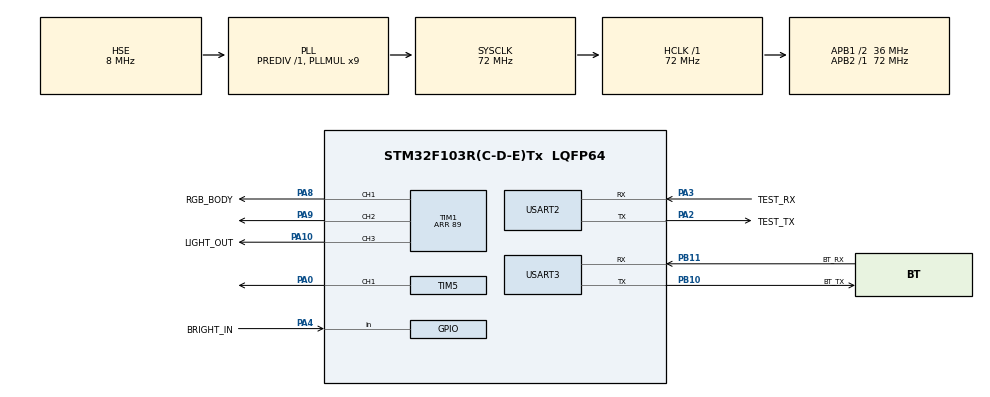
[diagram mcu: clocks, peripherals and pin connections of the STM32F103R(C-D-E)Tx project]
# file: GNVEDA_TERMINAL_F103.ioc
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Dma.Request0=TIM1_CH1
Dma.Request1=TIM1_CH3
Dma.Request2=TIM1_CH2
Dma.Request3=TIM5_CH1
Dma.TIM1_CH1.0.Direction=DMA_MEMORY_TO_PERIPH
Dma.TIM1_CH1.0.Instance=DMA1_Channel2
Dma.TIM1_CH1.0.MemDataAlignment=DMA_MDATAALIGN_HALFWORD
Dma.TIM1_CH1.0.MemInc=DMA_MINC_ENABLE
Dma.TIM1_CH1.0.Mode=DMA_CIRCULAR
Dma.TIM1_CH1.0.PeriphDataAlignment=DMA_PDATAALIGN_HALFWORD
Dma.TIM1_CH1.0.PeriphInc=DMA_PINC_DISABLE
Dma.TIM1_CH1.0.Priority=DMA_PRIORITY_LOW
Dma.TIM1_CH2.2.Direction=DMA_MEMORY_TO_PERIPH
Dma.TIM1_CH2.2.Instance=DMA1_Channel3
Dma.TIM1_CH2.2.MemDataAlignment=DMA_MDATAALIGN_HALFWORD
Dma.TIM1_CH2.2.MemInc=DMA_MINC_ENABLE
Dma.TIM1_CH2.2.Mode=DMA_CIRCULAR
Dma.TIM1_CH2.2.PeriphDataAlignment=DMA_PDATAALIGN_HALFWORD
Dma.TIM1_CH2.2.PeriphInc=DMA_PINC_DISABLE
Dma.TIM1_CH2.2.Priority=DMA_PRIORITY_LOW
Dma.TIM1_CH3.1.Direction=DMA_MEMORY_TO_PERIPH
Dma.TIM1_CH3.1.Instance=DMA1_Channel6
Dma.TIM1_CH3.1.MemDataAlignment=DMA_MDATAALIGN_HALFWORD
Dma.TIM1_CH3.1.MemInc=DMA_MINC_ENABLE
Dma.TIM1_CH3.1.Mode=DMA_CIRCULAR
Dma.TIM1_CH3.1.PeriphDataAlignment=DMA_PDATAALIGN_HALFWORD
Dma.TIM1_CH3.1.PeriphInc=DMA_PINC_DISABLE
Dma.TIM1_CH3.1.Priority=DMA_PRIORITY_LOW
Dma.TIM5_CH1.3.Direction=DMA_MEMORY_TO_PERIPH
Dma.TIM5_CH1.3.Instance=DMA2_Channel5
Dma.TIM5_CH1.3.MemDataAlignment=DMA_MDATAALIGN_HALFWORD
Dma.TIM5_CH1.3.MemInc=DMA_MINC_ENABLE
Dma.TIM5_CH1.3.Mode=DMA_CIRCULAR
Dma.TIM5_CH1.3.PeriphDataAlignment=DMA_PDATAALIGN_HALFWORD
Dma.TIM5_CH1.3.PeriphInc=DMA_PINC_DISABLE
Dma.TIM5_CH1.3.Priority=DMA_PRIORITY_LOW
Mcu.Family=STM32F1
Mcu.Name=STM32F103R(C-D-E)Tx
Mcu.Package=LQFP64
NVIC.DMA1_Channel2_IRQn=true\:0\:0\:false\:false\:true\:true\:false\:true\:true
NVIC.DMA1_Channel3_IRQn=true\:0\:0\:false\:false\:true\:true\:false\:true\:true
NVIC.DMA1_Channel6_IRQn=true\:0\:0\:false\:false\:true\:true\:false\:true\:true
NVIC.DMA2_Channel4_5_IRQn=true\:0\:0\:false\:false\:true\:true\:false\:true\:true
NVIC.PriorityGroup=NVIC_PRIORITYGROUP_4
NVIC.TIM3_IRQn=true\:15\:0\:false\:false\:true\:false\:false\:true\:true
NVIC.TimeBase=TIM3_IRQn
NVIC.TimeBaseIP=TIM3
NVIC.USART3_IRQn=true\:0\:0\:false\:false\:true\:false\:true\:true\:true
PA0-WKUP.Signal=S_TIM5_CH1
PA10.GPIO_Label=LIGHT_OUT
PA10.Signal=S_TIM1_CH3
PA13.Mode=Serial_Wire
PA13.Signal=SYS_JTMS-SWDIO
PA14.Mode=Serial_Wire
PA14.Signal=SYS_JTCK-SWCLK
PA2.GPIO_Label=TEST_TX
PA2.Mode=Asynchronous
PA2.Signal=USART2_TX
PA3.GPIO_Label=TEST_RX
PA3.Mode=Asynchronous
PA3.Signal=USART2_RX
PA4.GPIO_Label=BRIGHT_IN
PA4.Signal=GPIO_Input
PA8.GPIO_Label=RGB_BODY
PA8.Signal=S_TIM1_CH1
PA9.Signal=S_TIM1_CH2
PB10.GPIO_Label=BT_TX
PB10.Mode=Asynchronous
PB10.Signal=USART3_TX
PB11.GPIO_Label=BT_RX
PB11.Mode=Asynchronous
PB11.Signal=USART3_RX
PD0-OSC_IN.Mode=HSE-External-Oscillator
PD0-OSC_IN.Signal=RCC_OSC_IN
PD1-OSC_OUT.Mode=HSE-External-Oscillator
PD1-OSC_OUT.Signal=RCC_OSC_OUT
ProjectManager.HeapSize=0x200
ProjectManager.StackSize=0x400
ProjectManager.TargetToolchain=MDK-ARM V5.32
RCC.AHBFreq_Value=72000000
RCC.APB1CLKDivider=RCC_HCLK_DIV2
RCC.APB1Freq_Value=36000000
RCC.APB1TimFreq_Value=72000000
RCC.APB2Freq_Value=72000000
RCC.APB2TimFreq_Value=72000000
RCC.HCLKFreq_Value=72000000
RCC.PLLMUL=RCC_PLL_MUL9
RCC.PLLSourceVirtual=RCC_PLLSOURCE_HSE
RCC.SYSCLKFreq_VALUE=72000000
RCC.SYSCLKSource=RCC_SYSCLKSOURCE_PLLCLK
RCC.USBFreq_Value=72000000
RealThread.RT-Thread.3.1.5.RTOSJjkernel=true
RealThread.RT-Thread.3.1.5.RTOSJjshell=true
SH.S_TIM1_CH1.0=TIM1_CH1,PWM Generation1 CH1
SH.S_TIM1_CH2.0=TIM1_CH2,PWM Generation2 CH2
SH.S_TIM1_CH3.0=TIM1_CH3,PWM Generation3 CH3
SH.S_TIM5_CH1.0=TIM5_CH1,PWM Generation1 CH1
TIM1.Channel-PWM\ Generation1\ CH1=TIM_CHANNEL_1
TIM1.Channel-PWM\ Generation2\ CH2=TIM_CHANNEL_2
TIM1.Channel-PWM\ Generation3\ CH3=TIM_CHANNEL_3
TIM1.Period=89
TIM5.Channel-PWM\ Generation1\ CH1=TIM_CHANNEL_1
TIM5.Period=89
USART2.VirtualMode=VM_ASYNC
USART3.VirtualMode=VM_ASYNC
VP_RealThread.RT-Thread_VS_RTOSJjkernel_3.1.5_3.1.5.Mode=RTOSJjkernel
VP_RealThread.RT-Thread_VS_RTOSJjshell_3.1.5_3.1.5.Mode=RTOSJjshell
VP_SYS_VS_tim3.Mode=TIM3
board=custom

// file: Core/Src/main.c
/* USER CODE BEGIN Header */
/**
 ******************************************************************************
 * @file           : main.c
 * @brief          : Main program body
 ******************************************************************************
 * @attention
 *
 * Copyright (c) 2024 STMicroelectronics.
 * All rights reserved.
 *
 * This software is licensed under terms that can be found in the LICENSE file
 * in the root directory of this software component.
 * If no LICENSE file comes with this software, it is provided AS-IS.
 *
 ******************************************************************************
 */
/* USER CODE END Header */
#include "main.h"
#include "dma.h"
#include "tim.h"
#include "usart.h"
#include "gpio.h"

/* USER CODE BEGIN Includes */
#include <rtthread.h>
#include "RGB.h"
#include "easyflash.h"
#include "string.h"
#include "stdlib.h"
#include "stdio.h"
#include "gn_controller.h"
#include "jsonUtil.h"
/* USER CODE END Includes */

/* USER CODE BEGIN PD */
#define BUFFER_SIZE 250
/* USER CODE END PD */

/* USER CODE BEGIN PV */
RGB_LED rgb_body;
RGB_LED rgb_bag;
char usart3_c;
int usart3_rx_index;
char usart3_rx_buffer[BUFFER_SIZE];
int mode_id = 6;

int gn_mode_id = 0;
int command_able = 0;
bool gn_reset = true;
rt_thread_t processJsonThread;
bool is_double=false,is_center=false;
int GN_DRIVE[] = {2, 3, 4, 5, 6, 7, 8};
/* USER CODE END PV */

void SystemClock_Config(void);

/* USER CODE BEGIN 0 */
uint32_t color;
/* USER CODE END 0 */

int main(void)
{

  /* MCU Configuration--------------------------------------------------------*/

  /* Reset of all peripherals, Initializes the Flash interface and the Systick. */
  HAL_Init();

  /* Configure the system clock */
  SystemClock_Config();

  /* USER CODE BEGIN SysInit */
  RGB_LED_Init(&rgb_body, 10, &htim1, TIM_CHANNEL_1);
  RGB_LED_Init(&rgb_bag, 10, &htim5, TIM_CHANNEL_1);
  /* USER CODE END SysInit */

  /* Initialize all configured peripherals */
  MX_GPIO_Init();
  MX_DMA_Init();
  MX_TIM1_Init();
  MX_USART2_UART_Init();
  MX_USART3_UART_Init();
  MX_TIM5_Init();
  /* USER CODE BEGIN 2 */
  if (easyflash_init() == EF_NO_ERR) // Initialization Data Succeed
  {
    rt_kprintf("easyflash初始化成功!\n");
    // uint32_t color1 = 0x00FF00;
    // uint32_t color2 = 0x0000FF;
    // ef_set_env_blob("bird_color", &color1, 4);
    // ef_set_env_blob("wings_color", &color2, 4);

    // rt_kprintf("要保存的数据:\n");
    // print_hex_data(color1);
    // rt_kprintf("\n");
    // EfErrCode result = ef_set_env_blob("wavy_color_1", &color1,4);
    // if (result == EF_NO_ERR)
    // {
    //   rt_kprintf("数据1保存成功!\n");

    //   result = ef_set_env_blob("wavy_color_2", &color2,4);
    //   if (result == EF_NO_ERR)
    //   {
    //     rt_kprintf("数据2保存成功!\n");
    //   }
    // }
    // else
    // {
    //   rt_kprintf("数据保存失败!错误:%d\n", result);
    // }
  }

  HAL_UART_Receive_IT(&huart3, (uint8_t *)&usart3_c, 1);

  rt_thread_t rgb_body_task_tid = rt_thread_create("rgb_body_task", /* ???? */
                                              rgb_body_task, RT_NULL,
                                              1024, 3, 10); //
  if (rgb_body_task_tid != RT_NULL)
  {
    rt_thread_startup(rgb_body_task_tid);
    rt_kprintf("rgb_body_task_tid thread is already started\n");
  }
  else
  {
    rt_kprintf("rgb_body_task_tid thread is not started\n");
  }

  rt_thread_t rgb_gn_task_tid = rt_thread_create("rgb_gn_drive_task", /* ???? */
                                              rgb_gn_drive_task, RT_NULL,
                                              1024, 4, 10); //
  if (rgb_gn_task_tid != RT_NULL)
  {
    rt_thread_startup(rgb_gn_task_tid);
    rt_kprintf("rgb_gn_task_tid thread is already started\n");
  }
  else
  {
    rt_kprintf("rgb_gn_task_tid thread is not started\n");
  }

  processJsonThread = rt_thread_create("commandParsing", commandParsingTask, RT_NULL, 7216, 4, 10);
  if (processJsonThread != RT_NULL)
  {
    rt_thread_startup(processJsonThread);
  }
  /* USER CODE END 2 */

  /* Infinite loop */
  while (1)
  {

  }
}

void SystemClock_Config(void)
{
  RCC_OscInitTypeDef RCC_OscInitStruct = {0};
  RCC_ClkInitTypeDef RCC_ClkInitStruct = {0};

  /** Initializes the RCC Oscillators according to the specified parameters
  * in the RCC_OscInitTypeDef structure.
  */
  RCC_OscInitStruct.OscillatorType = RCC_OSCILLATORTYPE_HSE;
  RCC_OscInitStruct.HSEState = RCC_HSE_ON;
  RCC_OscInitStruct.HSEPredivValue = RCC_HSE_PREDIV_DIV1;
  RCC_OscInitStruct.HSIState = RCC_HSI_ON;
  RCC_OscInitStruct.PLL.PLLState = RCC_PLL_ON;
  RCC_OscInitStruct.PLL.PLLSource = RCC_PLLSOURCE_HSE;
  RCC_OscInitStruct.PLL.PLLMUL = RCC_PLL_MUL9;
  if (HAL_RCC_OscConfig(&RCC_OscInitStruct) != HAL_OK)
  {
    Error_Handler();
  }

  /** Initializes the CPU, AHB and APB buses clocks
  */
  RCC_ClkInitStruct.ClockType = RCC_CLOCKTYPE_HCLK|RCC_CLOCKTYPE_SYSCLK
                              |RCC_CLOCKTYPE_PCLK1|RCC_CLOCKTYPE_PCLK2;
  RCC_ClkInitStruct.SYSCLKSource = RCC_SYSCLKSOURCE_PLLCLK;
  RCC_ClkInitStruct.AHBCLKDivider = RCC_SYSCLK_DIV1;
  RCC_ClkInitStruct.APB1CLKDivider = RCC_HCLK_DIV2;
  RCC_ClkInitStruct.APB2CLKDivider = RCC_HCLK_DIV1;

  if (HAL_RCC_ClockConfig(&RCC_ClkInitStruct, FLASH_LATENCY_2) != HAL_OK)
  {
    Error_Handler();
  }
}

/* USER CODE BEGIN 4 */
void print_hex_data(uint32_t value)
{
  char buffer[10];
  snprintf(buffer, sizeof(buffer), "%06X", value);
  rt_kprintf("0x%s\n", buffer);
}

void rgb_gn_drive_task(void *promt)
{
  int delay_time = 1000;
  int circle_num = 0;
  uint32_t circle_color_1, circle_color_2, center_color,bird_color,wings_color;
  while (1)
  {
    resetColor(&rgb_bag, GN_DRIVE, 7);
    ef_get_env_blob("circle_color_1", &circle_color_1, 4, NULL);
    ef_get_env_blob("circle_color_2", &circle_color_2, 4, NULL);
    ef_get_env_blob("bird_color", &bird_color, 4, NULL);
    ef_get_env_blob("wings_color", &wings_color, 4, NULL);
    ef_get_env_blob("center_color", &center_color, 4, NULL);
    WS2812_Set_Color(&rgb_bag, bird_color, 1);
    WS2812_Set_Color(&rgb_bag, wings_color, 0);
    if (gn_reset)
    {
      delay_time = 1000;
      gn_reset = false;
    }
    if (is_center)
      WS2812_Set_Color(&rgb_bag, center_color, GN_DRIVE[6]);
    if (is_double)
      WS2812_Set_Color(&rgb_bag, circle_color_2, GN_DRIVE[circle_num + 3 >= 6 ? circle_num - 3 : circle_num + 3]);
    WS2812_Set_Color(&rgb_bag, circle_color_1, GN_DRIVE[circle_num]);
    circle_num++;
    if (circle_num >= 6)
    {
      circle_num = 0;
    }
    if (delay_time >= 10)
      delay_time = delay_time * 0.90;
    WS2812_Show(&rgb_bag);
    rt_thread_mdelay(delay_time);
  }
}

void rgb_body_task(void *promt)
{
  while (1)
  {
    switch (mode_id)
    {
    case 1:
    {
      chest_breathing(&rgb_body);
      break;
    }
    case 2:
    {
      normal(&rgb_body);
      break;
    }
    case 3:
    {
      all_body_breathing(&rgb_body);
      break;
    }
    case 4:
    {
      wavy_one(&rgb_body);
      break;
    }
    case 5:
    {
      wavy_two(&rgb_body);
      break;
    }
    case 6:
    {
      rainbow_RGB(&rgb_body);
      break;
    }
    }
    rt_thread_mdelay(100);
    // if (mode_id == 6){
    //   mode_id = 1;
    // }
    // else mode_id++;
    /* USER CODE BEGIN 3 */
  }
}
// ?????????????
uint32_t color_set;
char color_get[16]; // ??????????????

void setColorToEnv(const char *colors, const char *envName)
{
  rt_kprintf("setColorToEnv\n");
  int parsedItems = sscanf(colors, "[#%6s]", color_get);
  if (parsedItems == 1)
  {
    color_set = (strtol(color_get, NULL, 16));
    rt_kprintf("提取颜色0x%06X完成%s\n", color_set, envName);
    ef_set_env_blob(envName, &color_set, 4);
  }
}

// ?????????
void setDualColorToEnv(const char *colors, const char *envName1, const char *envName2)
{
  rt_kprintf("输入的颜色字符串: %s\n", colors);

  char color_get[7];
  char color_get_2[7];
  int parsedItems = sscanf(colors, "[#%6s, #%6s]", color_get, color_get_2);

  if (parsedItems == 2)
  {
    uint32_t color_set = (strtol(color_get, NULL, 16));
    rt_kprintf("提取颜色0x%06X完成,保存为: %s\n", color_set, envName1);
    ef_set_env_blob(envName1, &color_set, 4);

    color_set = (strtol(color_get_2, NULL, 16));
    rt_kprintf("提取颜色0x%06X完成,保存为: %s\n", color_set, envName2);
    ef_set_env_blob(envName2, &color_set, 4);
  }
  else
  {
    rt_kprintf("解析颜色字符串失败！\n");
  }
}
void setTripleColorToEnv(const char *colors, const char *envName1, const char *envName2, const char *envName3)
{
  rt_kprintf("输入的颜色字符串: %s\n", colors);

  char color_get[7];
  char color_get_2[7];
  char color_get_3[7];
  int parsedItems = sscanf(colors, "[#%6s, #%6s, #%6s]", color_get, color_get_2, color_get_3);

  if (parsedItems == 3)
  {
    uint32_t color_set = (strtol(color_get, NULL, 16));
    rt_kprintf("提取颜色0x%06X完成, 保存�? %s\n", color_set, envName1);
    ef_set_env_blob(envName1, &color_set, 4);

    color_set = (strtol(color_get_2, NULL, 16));
    rt_kprintf("提取颜色0x%06X完成, 保存�? %s\n", color_set, envName2);
    ef_set_env_blob(envName2, &color_set, 4);

    color_set = (strtol(color_get_3, NULL, 16));
    rt_kprintf("提取颜色0x%06X完成, 保存�? %s\n", color_set, envName3);
    ef_set_env_blob(envName3, &color_set, 4);
  }
  else
  {
    rt_kprintf("解析颜色字符串失败！\n");
  }
}
// ???
void processColor(const Message *message)
{

  switch ((int)message->mode.id)
  {
  case 1:
    setColorToEnv(message->mode.colors, "chest_color");
    break;
  case 2:
    setColorToEnv(message->mode.colors, "normal_color");
    break;
  case 3:
    setColorToEnv(message->mode.colors, "body_color");
    break;
  case 4:
    setColorToEnv(message->mode.colors, "wavy_color_1");
    break;
  case 5:
    setDualColorToEnv(message->mode.colors, "wavy_color_1", "wavy_color_2");
    break;
  default:
    // Handle other cases or do nothing
    break;
  }
  bool T = true, F = false;
  switch ((int)message->gnMode.id)
  {

  case 1:
  {
    is_double=false;
    is_center=false;
    setColorToEnv(message->gnMode.colors, "circle_color_1");
    break;
  }
  case 2:
  {
    is_double=true;
    is_center=false;
    setDualColorToEnv(message->gnMode.colors, "circle_color_1", "circle_color_2");
    break;
  }
  case 3:
  {
    is_double=false;
    is_center=true;
    setDualColorToEnv(message->gnMode.colors, "circle_color_1", "center_color");
    break;
  }
  case 4:
  {
    is_double=true;
    is_center=true;
    setTripleColorToEnv(message->gnMode.colors, "circle_color_1", "circle_color_2", "center_color");
    break;
  }
  default:
    break;
  }
}

void commandParsingTask(void *prmt)
{
  while (1)
  {
    if (command_able == 1)
    {
      rt_kprintf(usart3_rx_buffer);
      int parsedItems;
      int oId;
      char color_get[16];
      char color_get_2[16];
      uint32_t color_set = 0X000000;
      Message message;
      if (strcmp(usart3_rx_buffer, "get") == 0)
      {
        // Create a JSON object
        cJSON *root = cJSON_CreateObject();
        cJSON_AddNumberToObject(root, "mode_id", mode_id);
        cJSON_AddNumberToObject(root, "gn_mode_id", gn_mode_id);
        const char *envs[] = {
            "normal_color",
            "chest_color",
            "body_color",
            "wavy_color_1",
            "wavy_color_2",
            "circle_color_1",
            "circle_color_2",
            "center_color",
            "wings_color",
            "bird_color"
        };
        parseModeJSON(root,envs,10);
        // Convert the JSON object to a string
        char *json_str = cJSON_PrintUnformatted(root);

        // Send the JSON string via USART
        sendData(&huart3, json_str);
        rt_kprintf(json_str);
        free(json_str);
        // Free the JSON string and object
        cJSON_Delete(root);
      }
      else if (parseMessage(usart3_rx_buffer, &message))
      {
        rt_kprintf("Mode Type: %d\n", message.modeType);
        rt_kprintf("Mode ID: %d, Colors: %s\n", message.mode.id, message.mode.colors);
        rt_kprintf("gnMode ID: %d, Colors: %s\n", message.gnMode.id, message.gnMode.colors);
        mode_id = message.mode.id;
        gn_mode_id = message.gnMode.id;
        gn_reset = true;
        processColor(&message);
      }
      else
      {
        rt_kprintf("Failed to parse the JSON string.\n");
      }
      command_able = 0;
    }
    else
      rt_thread_mdelay(10);
  }
}
void clearUsart()
{
  memset(usart3_rx_buffer, 0, sizeof(usart3_rx_buffer));
  usart3_rx_index = 0;
}

void HAL_UART_RxCpltCallback(UART_HandleTypeDef *huart)
{
  if (huart == &huart3)
  {
    if (usart3_c == '+')
    {
      clearUsart();
    }
    else if (usart3_c == '\n')
    {
      rt_kprintf("收到指令%s\n", usart3_rx_buffer);
      command_able = 1;
    }
    else
    {
      usart3_rx_buffer[usart3_rx_index++] = usart3_c;
    }
    HAL_UART_Receive_IT(&huart3, (uint8_t *)&usart3_c, 1);
  }
}
/* USER CODE END 4 */

void HAL_TIM_PeriodElapsedCallback(TIM_HandleTypeDef *htim)
{
  if (htim->Instance == TIM3) {
    HAL_IncTick();
  }
}

void Error_Handler(void)
{
  __disable_irq();
  while (1)
  {
  }
}
